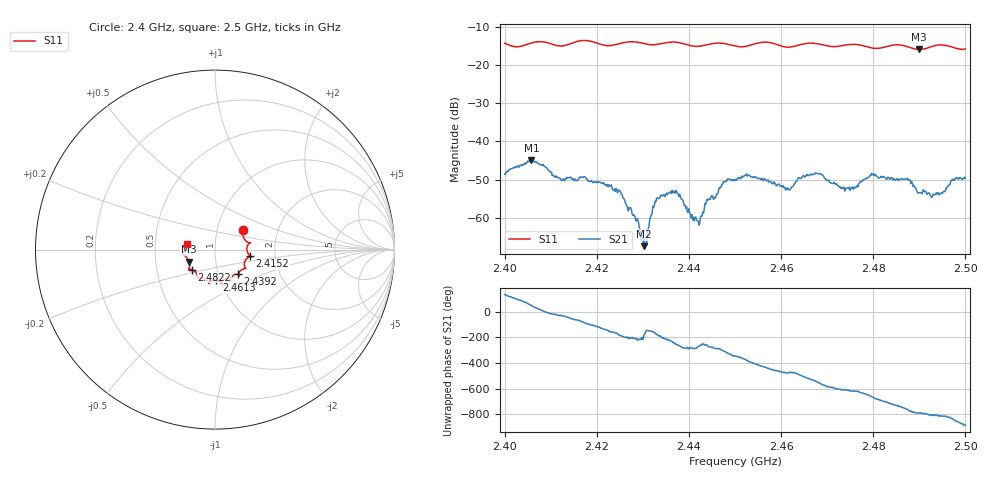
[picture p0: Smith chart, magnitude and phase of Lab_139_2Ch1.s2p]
# Hz S RI R
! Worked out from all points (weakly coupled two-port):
!   601 points, 2.4 GHz to 2.5 GHz, reference 50 ohm
!   highest |S21| = -44.88 dB at 2.4058 GHz (marker M1); lowest = -67.4 dB at 2.4302 GHz (marker M2)
!   lowest |S11| = -15.9 dB at 2.4898 GHz (marker M3), VSWR 1.38, Z = 37 - j5.04 ohm
!   |S11| at or under -10 dB: start of sweep to end of sweep
!   S12 and S22 are empty: the file has one direction only
!   S11 on the Smith chart (normalised r, x): 2.4 GHz: 1.33, +0.31; 2.4152 GHz: 1.48, -0.11; 2.4392 GHz: 1.24, -0.35; 2.4613 GHz: 0.96, -0.34; 2.4822 GHz: 0.76, -0.17; 2.5 GHz: 0.72, +0.05
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2.4e9  0.1564 0.1115  -0.00259 0.00266  0 0  0 0
2.405833e9  0.1907 0.0369  0.00371 0.00433  0 0  0 0
2.415167e9  0.1949 -0.0362  0.00153 -0.00281  0 0  0 0
2.416667e9  0.2044 -0.0422  0.000808 -0.0033  0 0  0 0
2.425167e9  0.166 -0.0968  -0.00217 0.000226  0 0  0 0
2.428667e9  0.1696 -0.1047  -0.000823 0.000445  0 0  0 0
2.430167e9  0.1572 -0.1089  -0.000413 0.000101  0 0  0 0
2.433333e9  0.1327 -0.1323  -0.00178 0.000167  0 0  0 0
2.436833e9  0.1353 -0.1465  -0.000964 0.00194  0 0  0 0
2.439167e9  0.1271 -0.138  0.000373 0.00141  0 0  0 0
2.442167e9  0.0973 -0.1465  2.77e-06 0.000799  0 0  0 0
2.444333e9  0.0855 -0.1662  0.000127 0.00172  0 0  0 0
2.45e9  0.069 -0.1637  0.00301 0.000727  0 0  0 0
2.461333e9  0.00762 -0.1712  -0.00114 -0.00219  0 0  0 0
2.466667e9  -0.0338 -0.1905  -0.0036 -0.00061  0 0  0 0
2.473833e9  -0.0853 -0.1604  -0.000728 0.00211  0 0  0 0
2.482167e9  -0.128 -0.1117  0.00325 0.00123  0 0  0 0
2.483333e9  -0.1392 -0.1101  0.00328 0.000626  0 0  0 0
2.4875e9  -0.1427 -0.0982  0.00233 -0.00231  0 0  0 0
2.489833e9  -0.1451 -0.0663  0.00068 -0.002  0 0  0 0
2.494667e9  -0.1816 -0.0221  -6.46e-05 -0.0021  0 0  0 0
2.5e9  -0.1587 0.0329  -0.00321 -0.000853  0 0  0 0
